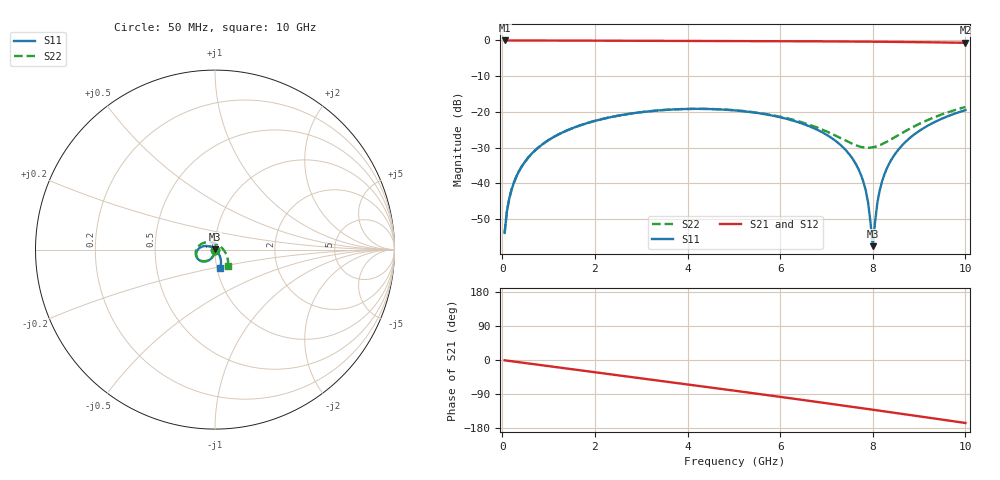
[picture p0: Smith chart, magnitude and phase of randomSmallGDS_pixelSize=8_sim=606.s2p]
! freq	dB(S11)	phase(S11)	dB(S12)	phase(S12)
!  dB(S21)	phase(S21)	dB(S22)	phase(S22)
!S-par simulation data
#  GHz  S  DB  R 50
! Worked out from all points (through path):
!   200 points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, 50 MHz to 10 GHz, reference 50 ohm
!   highest |S21| = 0.00 dB at 50 MHz (marker M1); lowest = -0.7 dB at 10 GHz (marker M2)
!   group delay of S21, straight-line fit = 45.9 ps
!   lowest |S11| = -57.6 dB at 8 GHz (marker M3), VSWR 1.00, Z = 50.1 + j0.103 ohm
!   |S11| at or under -10 dB: start of sweep to end of sweep
!   |S22| runs from -53.9 to -18.6 dB; largest |S21 - S12| = 0
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0.05  -53.92 -90.7  -0.00 -0.8  -0.00 -0.8  -53.89 -90.7
0.1  -47.88 -92.0  -0.00 -1.6  -0.00 -1.6  -47.86 -92.0
0.2  -41.81 -94.0  -0.00 -3.3  -0.00 -3.3  -41.79 -94.0
0.35  -36.90 -96.5  -0.00 -5.7  -0.00 -5.7  -36.89 -96.7
0.5  -33.80 -98.9  -0.01 -8.1  -0.01 -8.1  -33.79 -99.2
1  -27.90 -106.9  -0.02 -16.2  -0.02 -16.2  -27.90 -107.6
1.75  -23.49 -118.9  -0.05 -28.3  -0.05 -28.3  -23.49 -120.3
3.4  -19.58 -145.2  -0.11 -54.8  -0.11 -54.8  -19.57 -148.3
5.05  -19.63 -171.8  -0.17 -81.5  -0.17 -81.5  -19.59 -178.7
5.95  -21.37 173.3  -0.20 -96.4  -0.20 -96.4  -21.23 161.7
6.7  -24.42 160.5  -0.24 -109.0  -0.24 -109.0  -23.92 140.3
7.25  -28.68 150.5  -0.27 -118.3  -0.27 -118.3  -26.99 115.7
7.65  -34.98 141.7  -0.31 -125.2  -0.31 -125.2  -29.42 85.1
7.85  -42.13 133.2  -0.33 -128.6  -0.33 -128.6  -30.04 64.2
7.9  -45.50 128.0  -0.33 -129.5  -0.33 -129.5  -30.06 58.6
8  -57.63 51.2  -0.34 -131.2  -0.34 -131.2  -29.94 47.4
8.1  -45.39 -29.1  -0.35 -132.9  -0.35 -132.9  -29.59 36.6
8.15  -41.97 -34.0  -0.36 -133.8  -0.36 -133.8  -29.34 31.5
8.35  -34.61 -42.7  -0.38 -137.3  -0.38 -137.3  -28.04 13.5
8.6  -29.86 -48.6  -0.42 -141.6  -0.42 -141.6  -26.17 -3.6
8.95  -25.81 -55.5  -0.47 -147.7  -0.47 -147.7  -23.71 -20.6
10  -19.52 -74.3  -0.66 -166.2  -0.66 -166.2  -18.64 -51.7
